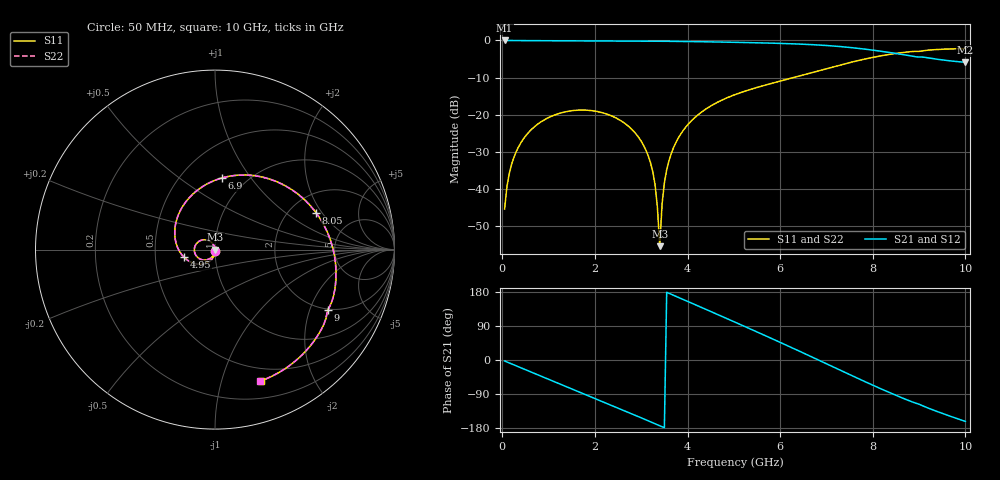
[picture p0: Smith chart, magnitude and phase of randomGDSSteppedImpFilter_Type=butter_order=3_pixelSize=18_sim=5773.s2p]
! freq	dB(S11)	phase(S11)	dB(S12)	phase(S12)
!  dB(S21)	phase(S21)	dB(S22)	phase(S22)
!S-par simulation data
#  GHz  S  DB  R 50
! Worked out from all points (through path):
!   200 points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, 50 MHz to 10 GHz, reference 50 ohm
!   highest |S21| = -0.01 dB at 50 MHz (marker M1); lowest = -5.9 dB at 10 GHz (marker M2)
!   group delay of S21, straight-line fit = 148 ps
!   lowest |S11| = -55.4 dB at 3.4 GHz (marker M3), VSWR 1.00, Z = 50.2 - j0.0106 ohm
!   |S11| at or under -10 dB: start of sweep to 6.288 GHz
!   |S22| runs from -53.1 to -2.2 dB; largest |S21 - S12| = 0
!   S11 on the Smith chart (normalised r, x): 50 MHz: 1.00, -0.01; 4.95 GHz: 0.70, -0.06; 6.9 GHz: 0.77, +0.74; 8.05 GHz: 2.74, +1.77; 9 GHz: 1.98, -2.69; 10 GHz: 0.37, -1.34
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0.05  -45.41 -91.9  -0.01 -2.6  -0.01 -2.6  -45.41 -92.0
0.2  -33.44 -100.4  -0.03 -10.3  -0.03 -10.3  -33.43 -100.5
0.5  -25.80 -116.2  -0.05 -25.5  -0.05 -25.5  -25.79 -116.2
1.15  -19.99 -149.2  -0.11 -58.4  -0.11 -58.4  -19.99 -149.3
1.75  -18.76 -179.8  -0.16 -88.7  -0.16 -88.7  -18.76 -180.0
2.55  -21.55 139.1  -0.18 -129.3  -0.18 -129.3  -21.55 138.7
3.05  -28.26 112.8  -0.19 -155.2  -0.19 -155.2  -28.25 111.6
3.3  -38.95 97.2  -0.21 -168.3  -0.21 -168.3  -38.87 92.9
3.4  -55.45 -3.6  -0.22 -173.5  -0.22 -173.5  -53.11 -1.0
3.45  -44.16 -80.0  -0.22 -176.1  -0.22 -176.1  -43.94 -71.4
3.5  -38.35 -86.2  -0.22 -178.8  -0.22 -178.8  -38.30 -81.8
3.75  -27.49 -101.8  -0.25 168.0  -0.25 168.0  -27.49 -100.5
4.2  -20.32 -126.2  -0.32 144.1  -0.32 144.1  -20.32 -125.6
4.95  -14.97 -166.7  -0.49 103.9  -0.49 103.9  -14.97 -166.4
5.05  -14.49 -172.1  -0.51 98.6  -0.51 98.6  -14.49 -171.9
5.8  -11.63 146.7  -0.72 57.6  -0.72 57.6  -11.63 146.8
6.7  -8.62 96.0  -1.14 7.2  -1.14 7.2  -8.62 95.9
6.9  -7.94 84.6  -1.28 -4.2  -1.28 -4.2  -7.94 84.4
8.05  -4.45 20.2  -2.69 -69.2  -2.69 -69.2  -4.45 19.9
8.35  -3.78 4.3  -3.23 -85.3  -3.23 -85.3  -3.79 4.0
9  -2.94 -27.9  -4.47 -116.7  -4.47 -116.7  -2.94 -28.2
10  -2.22 -70.8  -5.89 -162.1  -5.89 -162.1  -2.22 -71.0
